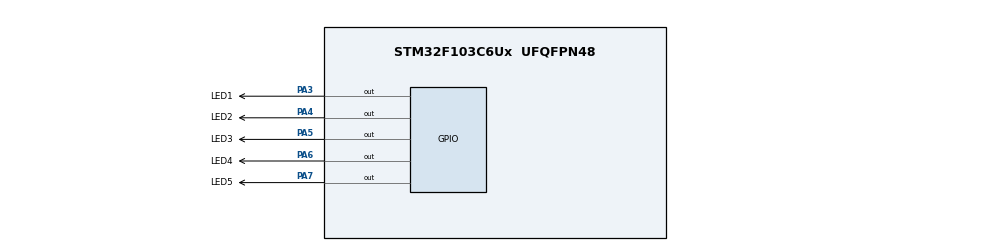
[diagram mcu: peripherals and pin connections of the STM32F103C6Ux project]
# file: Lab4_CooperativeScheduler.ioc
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Mcu.Family=STM32F1
Mcu.Name=STM32F103C6Ux
Mcu.Package=UFQFPN48
NVIC.PriorityGroup=NVIC_PRIORITYGROUP_4
NVIC.TIM2_IRQn=true\:0\:0\:false\:false\:true\:true\:true
PA3.GPIO_Label=LED1
PA3.Signal=GPIO_Output
PA4.GPIO_Label=LED2
PA4.Signal=GPIO_Output
PA5.GPIO_Label=LED3
PA5.Signal=GPIO_Output
PA6.GPIO_Label=LED4
PA6.Signal=GPIO_Output
PA7.GPIO_Label=LED5
PA7.Signal=GPIO_Output
ProjectManager.HeapSize=0x200
ProjectManager.StackSize=0x400
ProjectManager.TargetToolchain=STM32CubeIDE
RCC.APB1Freq_Value=8000000
RCC.APB2Freq_Value=8000000
TIM2.Period=9
TIM2.Prescaler=7999
VP_SYS_VS_ND.Mode=No_Debug
VP_TIM2_VS_ClockSourceINT.Mode=Internal
board=custom

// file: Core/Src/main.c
/* USER CODE BEGIN Header */
/**
  ******************************************************************************
  * @file           : main.c
  * @brief          : Main program body
  ******************************************************************************
  * @attention
  *
  * <h2><center>&copy; Copyright (c) 2022 STMicroelectronics.
  * All rights reserved.</center></h2>
  *
  * This software component is licensed by ST under BSD 3-Clause license,
  * the "License"; You may not use this file except in compliance with the
  * License. You may obtain a copy of the License at:
  *                        opensource.org/licenses/BSD-3-Clause
  *
  ******************************************************************************
  */
/* USER CODE END Header */
#include "main.h"

/* USER CODE BEGIN Includes */
#include "scheduler.h"
/* USER CODE END Includes */

TIM_HandleTypeDef htim2;

void SystemClock_Config(void);
static void MX_TIM2_Init(void);
static void MX_GPIO_Init(void);

/* USER CODE BEGIN 0 */
void led1(){
	HAL_GPIO_TogglePin(LED1_GPIO_Port, LED1_Pin);
}
void led2(){
	HAL_GPIO_TogglePin(LED2_GPIO_Port, LED2_Pin);
}
void led3(){
	HAL_GPIO_TogglePin(LED3_GPIO_Port, LED3_Pin);
}
void led4(){
	HAL_GPIO_TogglePin(LED4_GPIO_Port, LED4_Pin);
}
void led5(){
	HAL_GPIO_TogglePin(LED5_GPIO_Port, LED5_Pin);
}
/* USER CODE END 0 */

int main(void)
{

  /* MCU Configuration--------------------------------------------------------*/

  /* Reset of all peripherals, Initializes the Flash interface and the Systick. */
  HAL_Init();

  /* Configure the system clock */
  SystemClock_Config();

  /* Initialize all configured peripherals */
  MX_TIM2_Init();
  MX_GPIO_Init();
  /* USER CODE BEGIN 2 */
  HAL_TIM_Base_Start_IT (&htim2 ) ;

  SCH_Add_Task(led1, 3000, 500);
  SCH_Add_Task(led2, 3000, 1000);
  SCH_Add_Task(led3, 3000, 1500);
  SCH_Add_Task(led4, 3000, 2000);
  SCH_Add_Task(led5, 3000, 2500);
  /* USER CODE END 2 */

  /* Infinite loop */
  /* USER CODE BEGIN WHILE */
  while (1)
  {
	  SCH_Dispatch_Tasks();
    /* USER CODE END WHILE */

  }
}

void SystemClock_Config(void)
{
  RCC_OscInitTypeDef RCC_OscInitStruct = {0};
  RCC_ClkInitTypeDef RCC_ClkInitStruct = {0};

  /** Initializes the RCC Oscillators according to the specified parameters
  * in the RCC_OscInitTypeDef structure.
  */
  RCC_OscInitStruct.OscillatorType = RCC_OSCILLATORTYPE_HSI;
  RCC_OscInitStruct.HSIState = RCC_HSI_ON;
  RCC_OscInitStruct.HSICalibrationValue = RCC_HSICALIBRATION_DEFAULT;
  RCC_OscInitStruct.PLL.PLLState = RCC_PLL_NONE;
  if (HAL_RCC_OscConfig(&RCC_OscInitStruct) != HAL_OK)
  {
    Error_Handler();
  }
  /** Initializes the CPU, AHB and APB buses clocks
  */
  RCC_ClkInitStruct.ClockType = RCC_CLOCKTYPE_HCLK|RCC_CLOCKTYPE_SYSCLK
                              |RCC_CLOCKTYPE_PCLK1|RCC_CLOCKTYPE_PCLK2;
  RCC_ClkInitStruct.SYSCLKSource = RCC_SYSCLKSOURCE_HSI;
  RCC_ClkInitStruct.AHBCLKDivider = RCC_SYSCLK_DIV1;
  RCC_ClkInitStruct.APB1CLKDivider = RCC_HCLK_DIV1;
  RCC_ClkInitStruct.APB2CLKDivider = RCC_HCLK_DIV1;

  if (HAL_RCC_ClockConfig(&RCC_ClkInitStruct, FLASH_LATENCY_0) != HAL_OK)
  {
    Error_Handler();
  }
}

static void MX_TIM2_Init(void)
{

  TIM_ClockConfigTypeDef sClockSourceConfig = {0};
  TIM_MasterConfigTypeDef sMasterConfig = {0};

  htim2.Instance = TIM2;
  htim2.Init.Prescaler = 7999;
  htim2.Init.CounterMode = TIM_COUNTERMODE_UP;
  htim2.Init.Period = 9;
  htim2.Init.ClockDivision = TIM_CLOCKDIVISION_DIV1;
  htim2.Init.AutoReloadPreload = TIM_AUTORELOAD_PRELOAD_DISABLE;
  if (HAL_TIM_Base_Init(&htim2) != HAL_OK)
  {
    Error_Handler();
  }
  sClockSourceConfig.ClockSource = TIM_CLOCKSOURCE_INTERNAL;
  if (HAL_TIM_ConfigClockSource(&htim2, &sClockSourceConfig) != HAL_OK)
  {
    Error_Handler();
  }
  sMasterConfig.MasterOutputTrigger = TIM_TRGO_RESET;
  sMasterConfig.MasterSlaveMode = TIM_MASTERSLAVEMODE_DISABLE;
  if (HAL_TIMEx_MasterConfigSynchronization(&htim2, &sMasterConfig) != HAL_OK)
  {
    Error_Handler();
  }

}

static void MX_GPIO_Init(void)
{
  GPIO_InitTypeDef GPIO_InitStruct = {0};

  /* GPIO Ports Clock Enable */
  __HAL_RCC_GPIOA_CLK_ENABLE();

  /*Configure GPIO pin Output Level */
  HAL_GPIO_WritePin(GPIOA, LED1_Pin|LED2_Pin|LED3_Pin|LED4_Pin
                          |LED5_Pin, GPIO_PIN_RESET);

  /*Configure GPIO pins : LED1_Pin LED2_Pin LED3_Pin LED4_Pin
                           LED5_Pin */
  GPIO_InitStruct.Pin = LED1_Pin|LED2_Pin|LED3_Pin|LED4_Pin
                          |LED5_Pin;
  GPIO_InitStruct.Mode = GPIO_MODE_OUTPUT_PP;
  GPIO_InitStruct.Pull = GPIO_NOPULL;
  GPIO_InitStruct.Speed = GPIO_SPEED_FREQ_LOW;
  HAL_GPIO_Init(GPIOA, &GPIO_InitStruct);

}

/* USER CODE BEGIN 4 */
void HAL_TIM_PeriodElapsedCallback ( TIM_HandleTypeDef* htim )
{
	SCH_Update();
}
/* USER CODE END 4 */

void Error_Handler(void)
{
  __disable_irq();
  while (1)
  {
  }
}

/************************ (C) COPYRIGHT STMicroelectronics *****END OF FILE****/
